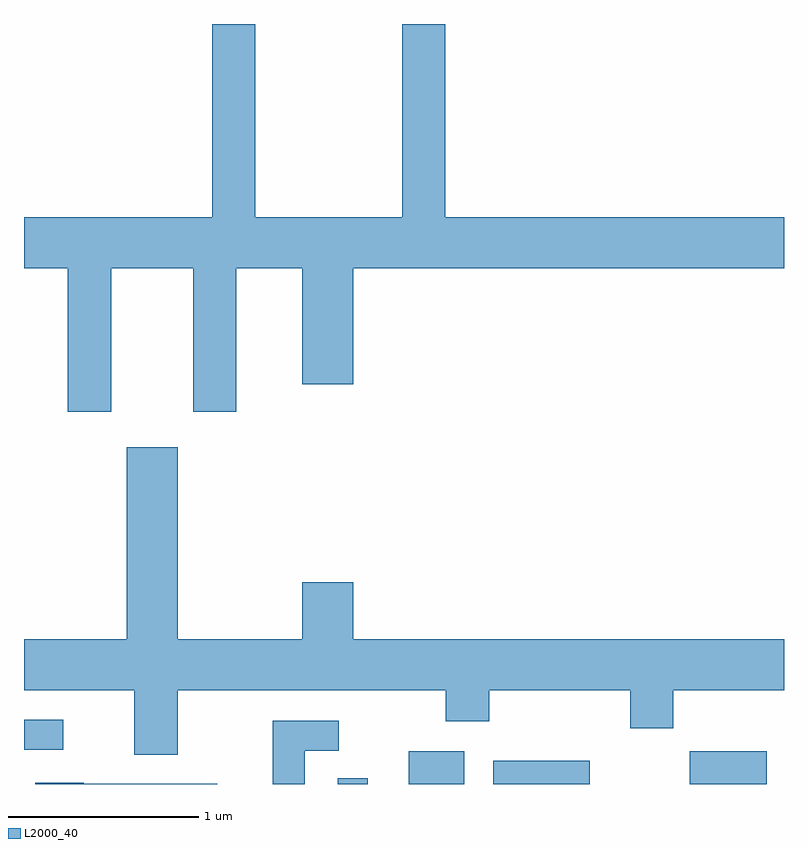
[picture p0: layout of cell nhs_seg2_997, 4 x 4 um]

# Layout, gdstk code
import gdstk
lib = gdstk.Library(unit=1e-6, precision=1e-09)
def R(c, l, rs):  # rectangles x0, y0, x1, y1
    for r in rs: c.add(gdstk.rectangle(r[:2], r[2:], *l))
def P(c, l, *ps):  # polygons
    for p in ps: c.add(gdstk.Polygon(p, *l))
L2000_40 = (2000, 40)

nhs_seg2_997 = lib.new_cell('nhs_seg2_997')
R(nhs_seg2_997, L2000_40, [(215.261,1067.802,215.419,1067.833), (215.636,1067.802,215.929,1067.974), (216.081,1067.802,216.588,1067.924), (217.116,1067.802,217.519,1067.974), (213.611,1067.981,213.818,1068.139)])
P(nhs_seg2_997, L2000_40, [(214.069,1070.516),(214.501,1070.516),(214.501,1069.761),(214.729,1069.761),(214.729,1070.516),(215.076,1070.516),(215.076,1069.906),(215.344,1069.906),(215.344,1070.516),(217.611,1070.516),(217.611,1070.784),(215.829,1070.784),(215.829,1071.802),(215.601,1071.802),(215.601,1070.784),(214.829,1070.784),(214.829,1071.802),(214.601,1071.802),(214.601,1070.784),(213.611,1070.784),(213.611,1070.516),(213.841,1070.516),(213.841,1069.761),(214.069,1069.761)],
  [(214.419,1068.296),(215.831,1068.296),(215.831,1068.131),(216.059,1068.131),(216.059,1068.296),(216.801,1068.296),(216.801,1068.096),(217.029,1068.096),(217.029,1068.296),(217.611,1068.296),(217.611,1068.564),(215.344,1068.564),(215.344,1068.864),(215.076,1068.864),(215.076,1068.564),(214.419,1068.564),(214.419,1069.574),(214.151,1069.574),(214.151,1068.564),(213.611,1068.564),(213.611,1068.296),(214.191,1068.296),(214.191,1067.956),(214.419,1067.956)],
  [(215.089,1067.976),(215.268,1067.976),(215.268,1068.134),(214.921,1068.134),(214.921,1067.802),(215.089,1067.802)],
  [(214.629,1067.804),(213.925,1067.804),(213.925,1067.809),(213.671,1067.809),(213.671,1067.802),(214.629,1067.802)])

lib.write_gds('nhs_seg2_997.gds')
